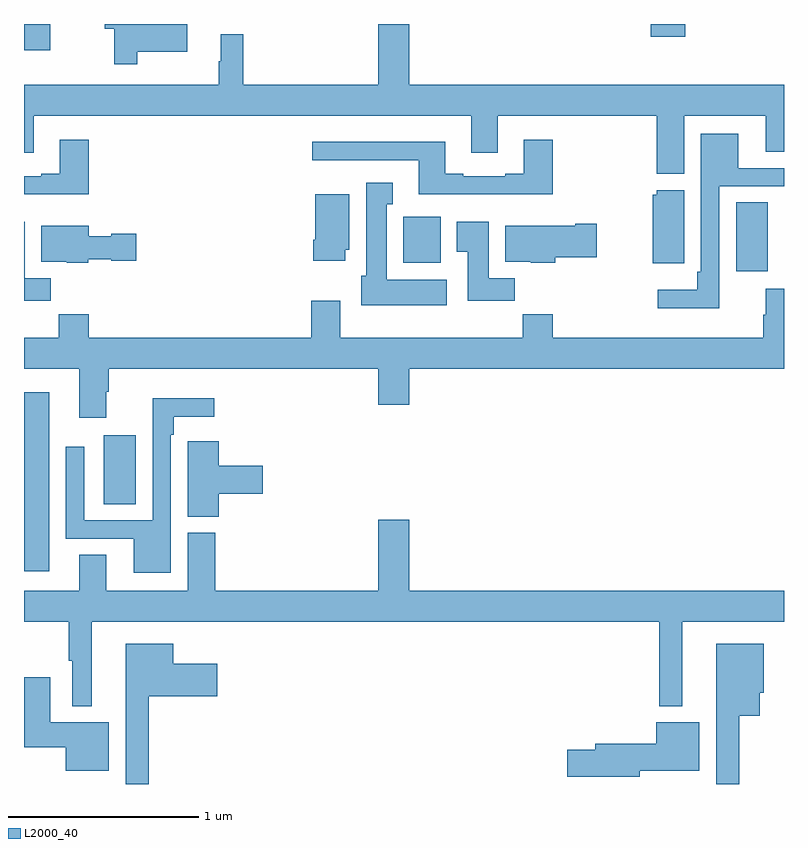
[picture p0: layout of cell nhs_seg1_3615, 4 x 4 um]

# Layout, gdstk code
import gdstk
lib = gdstk.Library(unit=1e-6, precision=1e-09)
def R(c, l, rs):  # rectangles x0, y0, x1, y1
    for r in rs: c.add(gdstk.rectangle(r[:2], r[2:], *l))
def P(c, l, *ps):  # polygons
    for p in ps: c.add(gdstk.Polygon(p, *l))
L2000_40 = (2000, 40)

nhs_seg1_3615 = lib.new_cell('nhs_seg1_3615')
R(nhs_seg1_3615, L2000_40, [(307,565.32,307.132,566.26), (307.421,565.672,307.588,566.035), (310.748,566.898,310.915,567.26), (308.996,566.942,309.193,567.184), (307,568.062,307.138,568.199), (310.298,568.131,310.481,568.199)])
P(nhs_seg1_3615, L2000_40, [(310.474,567.716),(310.904,567.716),(310.904,567.526),(311,567.526),(311,567.88),(309.028,567.88),(309.028,568.199),(308.864,568.199),(308.864,567.88),(308.153,567.88),(308.153,568.144),(308.036,568.144),(308.036,568.004),(308.025,568.004),(308.025,567.88),(307,567.88),(307,567.522),(307.051,567.522),(307.051,567.716),(309.353,567.716),(309.353,567.522),(309.493,567.522),(309.493,567.716),(310.331,567.716),(310.331,567.41),(310.474,567.41)],
  [(307.597,568.052),(307.858,568.052),(307.858,568.199),(307.424,568.199),(307.424,568.174),(307.476,568.174),(307.476,567.987),(307.597,567.987)],
  [(310.659,567.345),(311,567.345),(311,567.441),(310.759,567.441),(310.759,567.622),(310.563,567.622),(310.563,566.896),(310.543,566.896),(310.543,566.8),(310.335,566.8),(310.335,566.702),(310.659,566.702)],
  [(309.782,567.589),(309.629,567.589),(309.629,567.412),(309.533,567.412),(309.533,567.399),(309.313,567.399),(309.313,567.412),(309.217,567.412),(309.217,567.58),(308.517,567.58),(308.517,567.483),(309.077,567.483),(309.077,567.302),(309.782,567.302)],
  [(307.34,567.589),(307.187,567.589),(307.187,567.412),(307.091,567.412),(307.091,567.399),(307,567.399),(307,567.302),(307.34,567.302)],
  [(309.226,566.854),(308.908,566.854),(308.908,567.251),(308.941,567.251),(308.941,567.364),(308.801,567.364),(308.801,566.874),(308.774,566.874),(308.774,566.72),(309.226,566.72)],
  [(310.474,567.325),(310.329,567.325),(310.329,567.3),(310.31,567.3),(310.31,566.939),(310.474,566.939)],
  [(308.692,567.012),(308.713,567.012),(308.713,567.304),(308.534,567.304),(308.534,567.064),(308.522,567.064),(308.522,566.952),(308.692,566.952)],
  [(307.142,566.86),(307.003,566.86),(307.003,567.157),(307,567.157),(307,566.742),(307.142,566.742)],
  [(309.584,566.86),(309.445,566.86),(309.445,567.157),(309.278,567.157),(309.278,567.001),(309.335,567.001),(309.335,566.742),(309.584,566.742)],
  [(309.797,566.971),(310.015,566.971),(310.015,567.149),(309.902,567.149),(309.902,567.136),(309.533,567.136),(309.533,566.948),(309.666,566.948),(309.666,566.942),(309.797,566.942)],
  [(307.338,566.96),(307.458,566.96),(307.458,566.953),(307.591,566.953),(307.591,567.095),(307.458,567.095),(307.458,567.082),(307.342,567.082),(307.342,567.136),(307.091,567.136),(307.091,566.948),(307.224,566.948),(307.224,566.942),(307.338,566.942)],
  [(307.432,566.264),(307.445,566.264),(307.445,566.384),(308.864,566.384),(308.864,566.196),(309.028,566.196),(309.028,566.384),(311,566.384),(311,566.806),(310.904,566.806),(310.904,566.669),(310.892,566.669),(310.892,566.548),(309.782,566.548),(309.782,566.672),(309.625,566.672),(309.625,566.548),(308.665,566.548),(308.665,566.743),(308.513,566.743),(308.513,566.548),(307.34,566.548),(307.34,566.672),(307.183,566.672),(307.183,566.548),(307,566.548),(307,566.384),(307.292,566.384),(307.292,566.127),(307.432,566.127)],
  [(307.773,566.036),(307.789,566.036),(307.789,566.132),(308.002,566.132),(308.002,566.23),(307.677,566.23),(307.677,565.587),(307.317,565.587),(307.317,565.975),(307.221,565.975),(307.221,565.491),(307.577,565.491),(307.577,565.31),(307.773,565.31)],
  [(308.024,565.727),(308.257,565.727),(308.257,565.874),(308.024,565.874),(308.024,566.002),(307.863,566.002),(307.863,565.889),(307.862,565.889),(307.862,565.606),(308.024,565.606)],
  [(307.357,565.052),(310.344,565.052),(310.344,564.608),(310.465,564.608),(310.465,565.052),(311,565.052),(311,565.216),(309.028,565.216),(309.028,565.591),(308.864,565.591),(308.864,565.216),(308.006,565.216),(308.006,565.521),(307.862,565.521),(307.862,565.216),(307.432,565.216),(307.432,565.406),(307.292,565.406),(307.292,565.216),(307,565.216),(307,565.052),(307.236,565.052),(307.236,564.847),(307.253,564.847),(307.253,564.608),(307.357,564.608)],
  [(310.765,564.557),(310.873,564.557),(310.873,564.678),(310.894,564.678),(310.894,564.937),(310.643,564.937),(310.643,564.199),(310.765,564.199)],
  [(307.657,564.662),(308.017,564.662),(308.017,564.832),(307.786,564.832),(307.786,564.937),(307.535,564.937),(307.535,564.199),(307.657,564.199)],
  [(307.447,564.523),(307.138,564.523),(307.138,564.76),(307,564.76),(307,564.392),(307.22,564.392),(307.22,564.269),(307.447,564.269)],
  [(310.242,564.269),(310.555,564.269),(310.555,564.523),(310.328,564.523),(310.328,564.41),(310.007,564.41),(310.007,564.38),(309.858,564.38),(309.858,564.238),(310.242,564.238)])

lib.write_gds('nhs_seg1_3615.gds')
